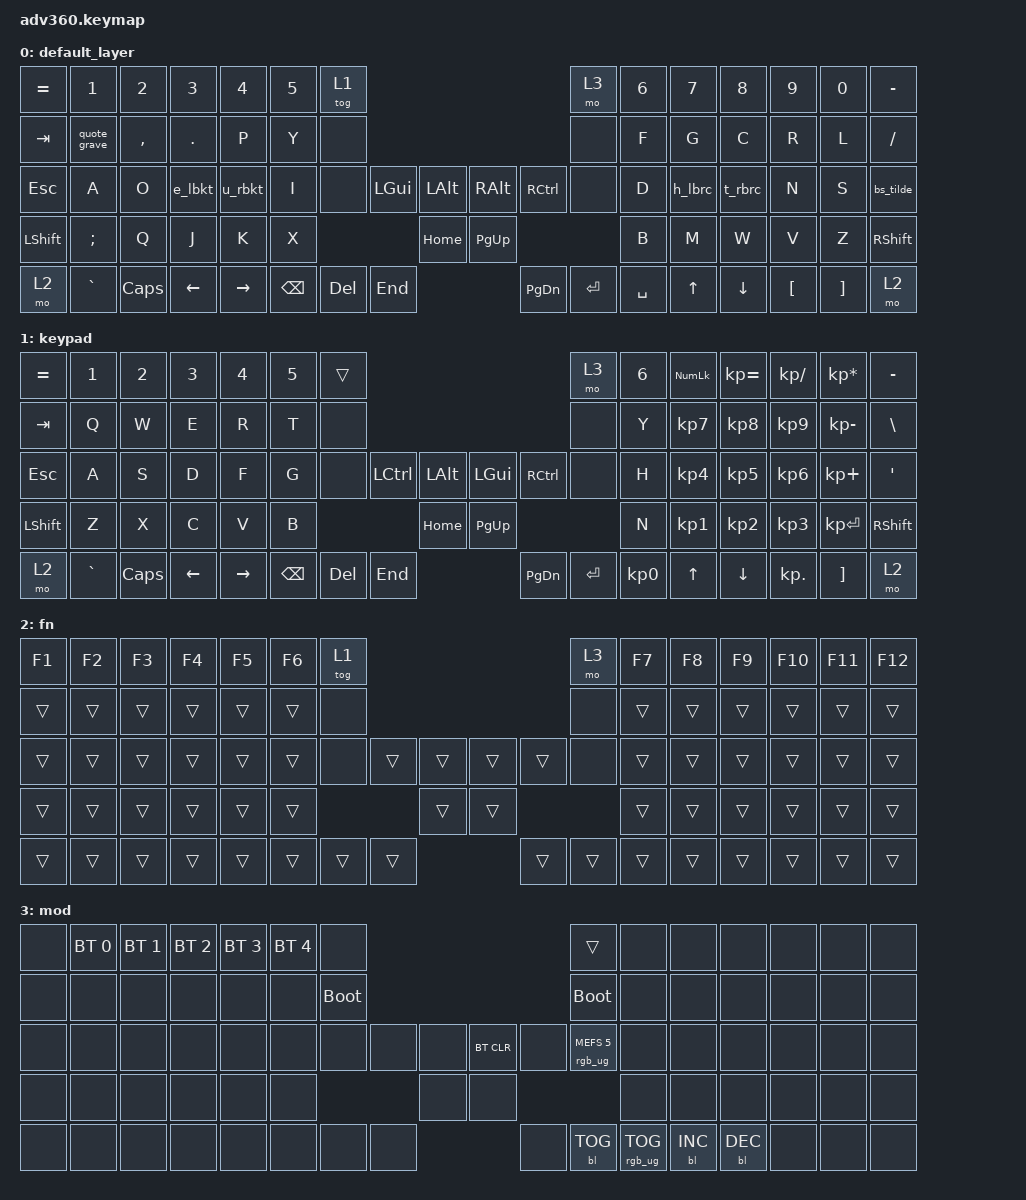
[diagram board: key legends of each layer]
#include <behaviors.dtsi>
#include <dt-bindings/zmk/keys.h>
#include <dt-bindings/zmk/bt.h>
#include <dt-bindings/zmk/rgb.h>
#include <dt-bindings/zmk/backlight.h>

/ {
    behaviors {
      #include "macros.dtsi"

      bs_tilde: backslash_tilde {
          compatible = "zmk,behavior-mod-morph";
          label = "BACKSLASH_TILDE";
          #binding-cells = <0>;
          bindings = <&kp BACKSLASH>, <&kp TILDE>;
          mods = <(MOD_RCTL)>;
      };
 
      quote_grave: quote_grave {
          compatible = "zmk,behavior-mod-morph";
          label = "QUOTE_GRAVE";
          #binding-cells = <0>;
          bindings = <&kp SINGLE_QUOTE>, <&kp GRAVE>;
          mods = <(MOD_RCTL)>;
      };
 
      e_lbkt: e_lbkt {
          compatible = "zmk,behavior-mod-morph";
          label = "E_LBKT";
          #binding-cells = <0>;
          bindings = <&kp E>, <&kp LEFT_BRACKET>;
          mods = <(MOD_RCTL)>;
      };
      u_rbkt: u_rbkt {
          compatible = "zmk,behavior-mod-morph";
          label = "U_RBKT";
          #binding-cells = <0>;
          bindings = <&kp U>, <&kp RIGHT_BRACKET>;
          mods = <(MOD_RCTL)>;
      };
  
      h_lbrc: h_lbrace {
          compatible = "zmk,behavior-mod-morph";
          label = "h_lbrace";
          #binding-cells = <0>;
          bindings = <&kp H>, <&kp LEFT_BRACE>;
          mods = <(MOD_LGUI)>;
      };
      t_rbrc: t_rbrace {
          compatible = "zmk,behavior-mod-morph";
          label = "t_rbrace";
          #binding-cells = <0>;
          bindings = <&kp T>, <&kp RIGHT_BRACE>;
          mods = <(MOD_LGUI)>;
      };
     
      hm: homerow_mods {
          compatible = "zmk,behavior-hold-tap";
          label = "HOMEROW_MODS";
          #binding-cells = <2>;
          tapping-term-ms = <200>;
          quick_tap_ms = <175>;
          flavor = "tap-preferred";
          bindings = <&kp>, <&kp>;
      };
    };

  keymap {
    compatible = "zmk,keymap";

    default_layer {
      bindings = <
        &kp EQUAL &kp N1        &kp N2    &kp N3     &kp N4  &kp N5 &tog 1                                                     &mo 3 &kp N6 &kp N7  &kp N8    &kp N9   &kp N0    &kp MINUS
        &kp TAB   &quote_grave  &kp COMMA &kp PERIOD &kp P   &kp Y  &none                                                      &none &kp F  &kp G   &kp C     &kp R    &kp L     &kp SLASH
        &kp ESC   &kp A         &kp O     &e_lbkt    &u_rbkt &kp I  &none      &kp LGUI &kp LALT &kp RALT &kp RCTRL            &none &kp D  &h_lbrc &t_rbrc   &kp N    &kp S     &bs_tilde
        &kp LSHFT &kp SEMICOLON &kp Q     &kp J      &kp K   &kp X                      &kp HOME &kp PG_UP                           &kp B  &kp M   &kp W     &kp V    &kp Z     &kp RSHFT
        &mo 2     &kp GRAVE     &kp CAPS  &kp LEFT   &kp RIGHT       &kp BSPC &kp DEL   &kp END  &kp PG_DN &kp ENTER &kp SPACE              &kp UP  &kp DOWN  &kp LBKT &kp RBKT  &mo 2
      >;
    };

    keypad {
      bindings = <
        &kp EQUAL &kp N1    &kp N2   &kp N3   &kp N4     &kp N5 &trans                                                           &mo 3 &kp N6 &kp KP_NUM &kp KP_EQUAL &kp KP_DIVIDE &kp KP_MULTIPLY &kp MINUS
        &kp TAB   &kp Q     &kp W    &kp E    &kp R      &kp T  &none                                                            &none &kp Y  &kp KP_N7  &kp KP_N8    &kp KP_N9     &kp KP_MINUS    &kp BSLH
        &kp ESC   &kp A     &kp S    &kp D    &kp F      &kp G  &none           &kp LCTRL &kp LALT &kp LGUI  &kp RCTRL           &none &kp H  &kp KP_N4  &kp KP_N5    &kp KP_N6     &kp KP_PLUS     &kp SQT
        &kp LSHFT &kp Z     &kp X    &kp C    &kp V      &kp B                            &kp HOME &kp PG_UP                           &kp N  &kp KP_N1  &kp KP_N2    &kp KP_N3     &kp KP_ENTER    &kp RSHFT
        &mo 2     &kp GRAVE &kp CAPS &kp LEFT &kp RIGHT                &kp BSPC &kp DEL   &kp END  &kp PG_DN &kp ENTER &kp KP_N0              &kp UP     &kp DOWN     &kp KP_DOT    &kp RBKT        &mo 2
      >;
    };
    fn {
      bindings = <
        &kp F1 &kp F2 &kp F3 &kp F4 &kp F5 &kp F6 &tog 1                                           &mo 3 &kp F7 &kp F8 &kp F9 &kp F10 &kp F11 &kp F12
        &trans &trans &trans &trans &trans &trans  &none                                           &none &trans &trans &trans &trans  &trans  &trans
        &trans &trans &trans &trans &trans &trans  &none        &trans &trans &trans &trans        &none &trans &trans &trans &trans  &trans  &trans
        &trans &trans &trans &trans &trans &trans                      &trans &trans                     &trans &trans &trans &trans  &trans  &trans
        &trans &trans &trans &trans &trans               &trans &trans &trans &trans &trans &trans              &trans &trans &trans  &trans  &trans
      >;
    };
    mod {
      bindings = <
        &none &bt BT_SEL 0 &bt BT_SEL 1 &bt BT_SEL 2 &bt BT_SEL 3 &bt BT_SEL 4 &none                                                                     &trans                 &none        &none        &none        &none &none &none
        &none &none        &none        &none        &none        &none        &bootloader                                                               &bootloader            &none        &none        &none        &none &none &none
        &none &none        &none        &none        &none        &none        &none                   &none &none &bt BT_CLR &none                      &rgb_ug RGB_MEFS_CMD 5 &none        &none        &none        &none &none &none
        &none &none        &none        &none        &none        &none                                      &none &none                                                        &none        &none        &none        &none &none &none
        &none &none        &none        &none        &none                                       &none &none &none &none      &bl BL_TOG &rgb_ug RGB_TOG                                     &bl BL_INC   &bl BL_DEC   &none &none &none
      >;
    };
  };
};

